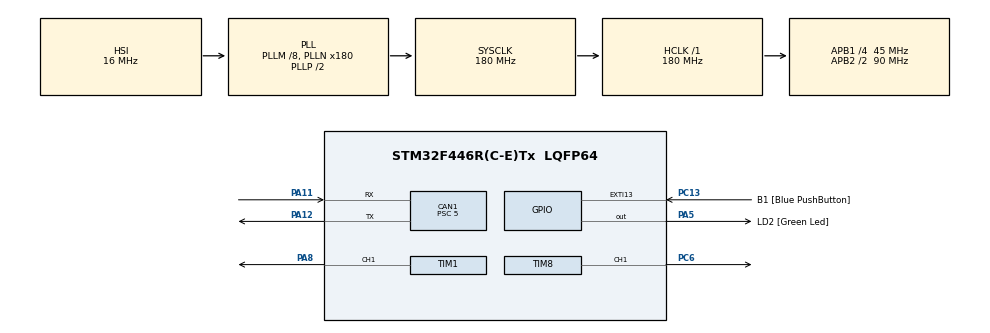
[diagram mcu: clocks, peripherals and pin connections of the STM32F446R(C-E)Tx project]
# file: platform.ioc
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CAN1.BS1=CAN_BS1_14TQ
CAN1.BS2=CAN_BS2_3TQ
CAN1.CalculateBaudRate=500000
CAN1.CalculateTimeBit=2000
CAN1.CalculateTimeQuantum=111.11111111111111
CAN1.Prescaler=5
Mcu.Family=STM32F4
Mcu.Name=STM32F446R(C-E)Tx
Mcu.Package=LQFP64
NVIC.PriorityGroup=NVIC_PRIORITYGROUP_0
PA0-WKUP.Signal=S_TIM2_CH1_ETR
PA11.Mode=CAN_Activate
PA11.Signal=CAN1_RX
PA12.Mode=CAN_Activate
PA12.Signal=CAN1_TX
PA13.GPIO_Label=TMS
PA13.Signal=SYS_JTMS-SWDIO
PA14.GPIO_Label=TCK
PA14.Signal=SYS_JTCK-SWCLK
PA2.GPIO_Label=USART_TX
PA2.Signal=USART2_TX
PA3.GPIO_Label=USART_RX
PA3.Signal=USART2_RX
PA5.GPIO_Label=LD2 [Green Led]
PA5.Signal=GPIO_Output
PA8.Signal=S_TIM1_CH1
PB3.GPIO_Label=SWO
PB3.Signal=SYS_JTDO-SWO
PC13.GPIO_Label=B1 [Blue PushButton]
PC13.GPIO_ModeDefaultEXTI=GPIO_MODE_IT_FALLING
PC13.Signal=GPXTI13
PC14-OSC32_IN.Signal=RCC_OSC32_IN
PC15-OSC32_OUT.Signal=RCC_OSC32_OUT
PC6.Signal=S_TIM8_CH1
PH0-OSC_IN.Signal=RCC_OSC_IN
PH1-OSC_OUT.Signal=RCC_OSC_OUT
ProjectManager.HeapSize=0x200
ProjectManager.StackSize=0x400
ProjectManager.TargetToolchain=STM32CubeIDE
RCC.AHBFreq_Value=180000000
RCC.APB1CLKDivider=RCC_HCLK_DIV4
RCC.APB1Freq_Value=45000000
RCC.APB1TimFreq_Value=90000000
RCC.APB2CLKDivider=RCC_HCLK_DIV2
RCC.APB2Freq_Value=90000000
RCC.APB2TimFreq_Value=180000000
RCC.CortexFreq_Value=180000000
RCC.FLatency-AdvancedSettings=FLASH_LATENCY_5
RCC.HCLKFreq_Value=180000000
RCC.HSE_VALUE=8000000
RCC.HSI_VALUE=16000000
RCC.LSE_VALUE=32768
RCC.PLLM=8
RCC.PLLN=180
RCC.SYSCLKFreq_VALUE=180000000
RCC.SYSCLKSource=RCC_SYSCLKSOURCE_PLLCLK
RCC.USBFreq_Value=180000000
RCC.VCOOutputFreq_Value=360000000
SH.S_TIM1_CH1.0=TIM1_CH1,PWM Generation1 CH1
SH.S_TIM2_CH1_ETR.0=TIM2_CH1
SH.S_TIM8_CH1.0=TIM8_CH1,PWM Generation1 CH1
TIM1.AutoReloadPreload=TIM_AUTORELOAD_PRELOAD_DISABLE
TIM1.Channel-PWM\ Generation1\ CH1=TIM_CHANNEL_1
TIM1.Period=54054
TIM1.Prescaler=9
TIM8.Channel-PWM\ Generation1\ CH1=TIM_CHANNEL_1
TIM8.Period=54054
TIM8.Prescaler=9
board=NUCLEO-F446RE

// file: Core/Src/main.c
/* USER CODE BEGIN Header */
/**
  ******************************************************************************
  * @file           : main.c
  * @brief          : Main program body
  ******************************************************************************
  * @attention
  *
  * Copyright (c) 2026 STMicroelectronics.
  * All rights reserved.
  *
  * This software is licensed under terms that can be found in the LICENSE file
  * in the root directory of this software component.
  * If no LICENSE file comes with this software, it is provided AS-IS.
  *
  ******************************************************************************
  */
/* USER CODE END Header */
#include "main.h"

/* USER CODE BEGIN Includes */
#include "can_device.h"
/* USER CODE END Includes */

/* USER CODE BEGIN PD */

// defines for linear transformation between servo angle and CCR for desired pulse width
#define MIN_ANGLE 0
#define MAX_ANGLE 270
#define MIN_CCR 9009
#define MAX_CCR 45044

// ---------------- CAN message constants (can be added to form message) ----------------
// device id bits [8:5]
#define CAN_DEV_ID 0x0E0

// priority bits (first two bits of CAN ID)
#define CAN_PR_CRIT 0x000 // 0b00
#define CAN_PR_CTRL 0x200 // 0b01
#define CAN_PR_STAT 0x400 // 0b10
#define CAN_PR_DBUG 0x600 // 0b11

// message type bits (last five bits)
#define FILLER_MESSAGE 0x000 // currently no message to send back from this board to bus

// CAN receive filter IDs
#define CAN_MSG_GLOBAL_STOP 0x000
#define CAN_MSG_HEARTBEAT 0x001
#define CAN_MSG_HRZ_ANG 0x226
#define CAN_MSG_VRT_ANG 0x227

/* USER CODE END PD */

CAN_HandleTypeDef hcan1;

TIM_HandleTypeDef htim1;
TIM_HandleTypeDef htim8;

/* USER CODE BEGIN PV */
CANDevice_t can_dev;
uint16_t rx_id_list[] = {CAN_MSG_GLOBAL_STOP, CAN_MSG_HEARTBEAT, CAN_MSG_HRZ_ANG, CAN_MSG_VRT_ANG};

/* USER CODE END PV */

void SystemClock_Config(void);
static void MX_GPIO_Init(void);
static void MX_CAN1_Init(void);
static void MX_TIM1_Init(void);
static void MX_TIM8_Init(void);
/* USER CODE BEGIN PFP */
// CAN function callback plus helpers
static void can_rx_callback(CANDevice_t *device);
static void proccess_can_data(uint16_t message_id, uint8_t *data);

// subsystem control functions
static void set_horizontal_angle(float angle);
static void set_vertical_angle(float angle);

// helper functions
static int linear_map(float input, float in_min, float in_max, float out_min, float out_max);

/* USER CODE END PFP */

int main(void)
{

  /* MCU Configuration--------------------------------------------------------*/

  /* Reset of all peripherals, Initializes the Flash interface and the Systick. */
  HAL_Init();

  /* Configure the system clock */
  SystemClock_Config();

  /* Initialize all configured peripherals */
  MX_GPIO_Init();
  MX_CAN1_Init();
  MX_TIM1_Init();
  MX_TIM8_Init();
  /* USER CODE BEGIN 2 */
  // start CAN device
//  device_can_init(&can_dev, &hcan1);
//
//  // config the CAN device filter banks
//  can_config_filter(&can_dev, rx_id_list, sizeof(rx_id_list));
//
//  // link the can rx callback
//  link_rx_callback(&can_dev, can_rx_callback);

  // start the servo PWMs
  HAL_TIM_PWM_Start(&htim1, TIM_CHANNEL_1);
  HAL_TIM_PWM_Start(&htim8, TIM_CHANNEL_1);

  /* USER CODE END 2 */

  /* Infinite loop */
  /* USER CODE BEGIN WHILE */
  while (1)
  {
	  HAL_Delay(1000);
	  set_horizontal_angle(90);
	  set_vertical_angle(90);

	  HAL_Delay(1000);
	  set_horizontal_angle(180);
	  set_vertical_angle(180);

	  HAL_Delay(1000);
	  set_horizontal_angle(0);
	  set_vertical_angle(0);

    /* USER CODE END WHILE */

  }
}

void SystemClock_Config(void)
{
  RCC_OscInitTypeDef RCC_OscInitStruct = {0};
  RCC_ClkInitTypeDef RCC_ClkInitStruct = {0};

  /** Configure the main internal regulator output voltage
  */
  __HAL_RCC_PWR_CLK_ENABLE();
  __HAL_PWR_VOLTAGESCALING_CONFIG(PWR_REGULATOR_VOLTAGE_SCALE1);

  /** Initializes the RCC Oscillators according to the specified parameters
  * in the RCC_OscInitTypeDef structure.
  */
  RCC_OscInitStruct.OscillatorType = RCC_OSCILLATORTYPE_HSI;
  RCC_OscInitStruct.HSIState = RCC_HSI_ON;
  RCC_OscInitStruct.HSICalibrationValue = RCC_HSICALIBRATION_DEFAULT;
  RCC_OscInitStruct.PLL.PLLState = RCC_PLL_ON;
  RCC_OscInitStruct.PLL.PLLSource = RCC_PLLSOURCE_HSI;
  RCC_OscInitStruct.PLL.PLLM = 8;
  RCC_OscInitStruct.PLL.PLLN = 180;
  RCC_OscInitStruct.PLL.PLLP = RCC_PLLP_DIV2;
  RCC_OscInitStruct.PLL.PLLQ = 2;
  RCC_OscInitStruct.PLL.PLLR = 2;
  if (HAL_RCC_OscConfig(&RCC_OscInitStruct) != HAL_OK)
  {
    Error_Handler();
  }

  /** Activate the Over-Drive mode
  */
  if (HAL_PWREx_EnableOverDrive() != HAL_OK)
  {
    Error_Handler();
  }

  /** Initializes the CPU, AHB and APB buses clocks
  */
  RCC_ClkInitStruct.ClockType = RCC_CLOCKTYPE_HCLK|RCC_CLOCKTYPE_SYSCLK
                              |RCC_CLOCKTYPE_PCLK1|RCC_CLOCKTYPE_PCLK2;
  RCC_ClkInitStruct.SYSCLKSource = RCC_SYSCLKSOURCE_PLLCLK;
  RCC_ClkInitStruct.AHBCLKDivider = RCC_SYSCLK_DIV1;
  RCC_ClkInitStruct.APB1CLKDivider = RCC_HCLK_DIV4;
  RCC_ClkInitStruct.APB2CLKDivider = RCC_HCLK_DIV2;

  if (HAL_RCC_ClockConfig(&RCC_ClkInitStruct, FLASH_LATENCY_5) != HAL_OK)
  {
    Error_Handler();
  }
}

static void MX_CAN1_Init(void)
{

  hcan1.Instance = CAN1;
  hcan1.Init.Prescaler = 5;
  hcan1.Init.Mode = CAN_MODE_NORMAL;
  hcan1.Init.SyncJumpWidth = CAN_SJW_1TQ;
  hcan1.Init.TimeSeg1 = CAN_BS1_14TQ;
  hcan1.Init.TimeSeg2 = CAN_BS2_3TQ;
  hcan1.Init.TimeTriggeredMode = DISABLE;
  hcan1.Init.AutoBusOff = DISABLE;
  hcan1.Init.AutoWakeUp = DISABLE;
  hcan1.Init.AutoRetransmission = DISABLE;
  hcan1.Init.ReceiveFifoLocked = DISABLE;
  hcan1.Init.TransmitFifoPriority = DISABLE;
  if (HAL_CAN_Init(&hcan1) != HAL_OK)
  {
    Error_Handler();
  }

}

static void MX_TIM1_Init(void)
{

  TIM_MasterConfigTypeDef sMasterConfig = {0};
  TIM_OC_InitTypeDef sConfigOC = {0};
  TIM_BreakDeadTimeConfigTypeDef sBreakDeadTimeConfig = {0};

  htim1.Instance = TIM1;
  htim1.Init.Prescaler = 9;
  htim1.Init.CounterMode = TIM_COUNTERMODE_UP;
  htim1.Init.Period = 54054;
  htim1.Init.ClockDivision = TIM_CLOCKDIVISION_DIV1;
  htim1.Init.RepetitionCounter = 0;
  htim1.Init.AutoReloadPreload = TIM_AUTORELOAD_PRELOAD_DISABLE;
  if (HAL_TIM_PWM_Init(&htim1) != HAL_OK)
  {
    Error_Handler();
  }
  sMasterConfig.MasterOutputTrigger = TIM_TRGO_RESET;
  sMasterConfig.MasterSlaveMode = TIM_MASTERSLAVEMODE_DISABLE;
  if (HAL_TIMEx_MasterConfigSynchronization(&htim1, &sMasterConfig) != HAL_OK)
  {
    Error_Handler();
  }
  sConfigOC.OCMode = TIM_OCMODE_PWM1;
  sConfigOC.Pulse = 0;
  sConfigOC.OCPolarity = TIM_OCPOLARITY_HIGH;
  sConfigOC.OCNPolarity = TIM_OCNPOLARITY_HIGH;
  sConfigOC.OCFastMode = TIM_OCFAST_DISABLE;
  sConfigOC.OCIdleState = TIM_OCIDLESTATE_RESET;
  sConfigOC.OCNIdleState = TIM_OCNIDLESTATE_RESET;
  if (HAL_TIM_PWM_ConfigChannel(&htim1, &sConfigOC, TIM_CHANNEL_1) != HAL_OK)
  {
    Error_Handler();
  }
  sBreakDeadTimeConfig.OffStateRunMode = TIM_OSSR_DISABLE;
  sBreakDeadTimeConfig.OffStateIDLEMode = TIM_OSSI_DISABLE;
  sBreakDeadTimeConfig.LockLevel = TIM_LOCKLEVEL_OFF;
  sBreakDeadTimeConfig.DeadTime = 0;
  sBreakDeadTimeConfig.BreakState = TIM_BREAK_DISABLE;
  sBreakDeadTimeConfig.BreakPolarity = TIM_BREAKPOLARITY_HIGH;
  sBreakDeadTimeConfig.AutomaticOutput = TIM_AUTOMATICOUTPUT_DISABLE;
  if (HAL_TIMEx_ConfigBreakDeadTime(&htim1, &sBreakDeadTimeConfig) != HAL_OK)
  {
    Error_Handler();
  }
  HAL_TIM_MspPostInit(&htim1);

}

static void MX_TIM8_Init(void)
{

  TIM_MasterConfigTypeDef sMasterConfig = {0};
  TIM_OC_InitTypeDef sConfigOC = {0};
  TIM_BreakDeadTimeConfigTypeDef sBreakDeadTimeConfig = {0};

  htim8.Instance = TIM8;
  htim8.Init.Prescaler = 9;
  htim8.Init.CounterMode = TIM_COUNTERMODE_UP;
  htim8.Init.Period = 54054;
  htim8.Init.ClockDivision = TIM_CLOCKDIVISION_DIV1;
  htim8.Init.RepetitionCounter = 0;
  htim8.Init.AutoReloadPreload = TIM_AUTORELOAD_PRELOAD_DISABLE;
  if (HAL_TIM_PWM_Init(&htim8) != HAL_OK)
  {
    Error_Handler();
  }
  sMasterConfig.MasterOutputTrigger = TIM_TRGO_RESET;
  sMasterConfig.MasterSlaveMode = TIM_MASTERSLAVEMODE_DISABLE;
  if (HAL_TIMEx_MasterConfigSynchronization(&htim8, &sMasterConfig) != HAL_OK)
  {
    Error_Handler();
  }
  sConfigOC.OCMode = TIM_OCMODE_PWM1;
  sConfigOC.Pulse = 0;
  sConfigOC.OCPolarity = TIM_OCPOLARITY_HIGH;
  sConfigOC.OCNPolarity = TIM_OCNPOLARITY_HIGH;
  sConfigOC.OCFastMode = TIM_OCFAST_DISABLE;
  sConfigOC.OCIdleState = TIM_OCIDLESTATE_RESET;
  sConfigOC.OCNIdleState = TIM_OCNIDLESTATE_RESET;
  if (HAL_TIM_PWM_ConfigChannel(&htim8, &sConfigOC, TIM_CHANNEL_1) != HAL_OK)
  {
    Error_Handler();
  }
  sBreakDeadTimeConfig.OffStateRunMode = TIM_OSSR_DISABLE;
  sBreakDeadTimeConfig.OffStateIDLEMode = TIM_OSSI_DISABLE;
  sBreakDeadTimeConfig.LockLevel = TIM_LOCKLEVEL_OFF;
  sBreakDeadTimeConfig.DeadTime = 0;
  sBreakDeadTimeConfig.BreakState = TIM_BREAK_DISABLE;
  sBreakDeadTimeConfig.BreakPolarity = TIM_BREAKPOLARITY_HIGH;
  sBreakDeadTimeConfig.AutomaticOutput = TIM_AUTOMATICOUTPUT_DISABLE;
  if (HAL_TIMEx_ConfigBreakDeadTime(&htim8, &sBreakDeadTimeConfig) != HAL_OK)
  {
    Error_Handler();
  }
  HAL_TIM_MspPostInit(&htim8);

}

static void MX_GPIO_Init(void)
{
  GPIO_InitTypeDef GPIO_InitStruct = {0};

  /* GPIO Ports Clock Enable */
  __HAL_RCC_GPIOC_CLK_ENABLE();
  __HAL_RCC_GPIOH_CLK_ENABLE();
  __HAL_RCC_GPIOA_CLK_ENABLE();
  __HAL_RCC_GPIOB_CLK_ENABLE();

  /*Configure GPIO pin Output Level */
  HAL_GPIO_WritePin(LD2_GPIO_Port, LD2_Pin, GPIO_PIN_RESET);

  /*Configure GPIO pin : B1_Pin */
  GPIO_InitStruct.Pin = B1_Pin;
  GPIO_InitStruct.Mode = GPIO_MODE_IT_FALLING;
  GPIO_InitStruct.Pull = GPIO_NOPULL;
  HAL_GPIO_Init(B1_GPIO_Port, &GPIO_InitStruct);

  /*Configure GPIO pin : PA0 */
  GPIO_InitStruct.Pin = GPIO_PIN_0;
  GPIO_InitStruct.Mode = GPIO_MODE_AF_PP;
  GPIO_InitStruct.Pull = GPIO_NOPULL;
  GPIO_InitStruct.Speed = GPIO_SPEED_FREQ_LOW;
  GPIO_InitStruct.Alternate = GPIO_AF1_TIM2;
  HAL_GPIO_Init(GPIOA, &GPIO_InitStruct);

  /*Configure GPIO pins : USART_TX_Pin USART_RX_Pin */
  GPIO_InitStruct.Pin = USART_TX_Pin|USART_RX_Pin;
  GPIO_InitStruct.Mode = GPIO_MODE_AF_PP;
  GPIO_InitStruct.Pull = GPIO_NOPULL;
  GPIO_InitStruct.Speed = GPIO_SPEED_FREQ_VERY_HIGH;
  GPIO_InitStruct.Alternate = GPIO_AF7_USART2;
  HAL_GPIO_Init(GPIOA, &GPIO_InitStruct);

  /*Configure GPIO pin : LD2_Pin */
  GPIO_InitStruct.Pin = LD2_Pin;
  GPIO_InitStruct.Mode = GPIO_MODE_OUTPUT_PP;
  GPIO_InitStruct.Pull = GPIO_NOPULL;
  GPIO_InitStruct.Speed = GPIO_SPEED_FREQ_LOW;
  HAL_GPIO_Init(LD2_GPIO_Port, &GPIO_InitStruct);

}

/* USER CODE BEGIN 4 */
// map an input from on range to another, both ranges must be a linear scale
static int linear_map(float input, float in_min, float in_max, float out_min, float out_max) {
	float frac = (out_max - out_min) / (in_max - in_min);
	return out_min + frac * (input - in_min);
}

// set the horizontal platform angle
static void set_horizontal_angle(float angle) {
	htim1.Instance->CCR1 = linear_map(angle, MIN_ANGLE, MAX_ANGLE, MIN_CCR, MAX_CCR);
}

// set the vertical platform angle
static void set_vertical_angle(float angle) {
	htim8.Instance->CCR1 = linear_map(angle, MIN_ANGLE, MAX_ANGLE, MIN_CCR, MAX_CCR);
}

// callback for receiving CAN data
static void can_rx_callback(CANDevice_t *device) {
	if (device->msgReceived) {
		// Only pull data if we actually have a new message
		uint8_t *rx_data = device->rxBuffer;
		uint16_t message_id = device->rxHeader.StdId;

		proccess_can_data(message_id, rx_data);

		device->msgReceived = false;
	}
}

// proccess the can data based on the message ID (little endian data protocol)
static void proccess_can_data(uint16_t message_id, uint8_t *data) {
    float received_val;

    // Copy the 4 bytes back into a float variable
    memcpy(&received_val, data, sizeof(float));

    switch (message_id) {
        case CAN_MSG_HRZ_ANG:
            set_horizontal_angle(received_val);
            break;
        case CAN_MSG_VRT_ANG:
            set_vertical_angle(received_val);
            break;
    }
}
/* USER CODE END 4 */

void Error_Handler(void)
{
  __disable_irq();
  while (1)
  {
  }
}
